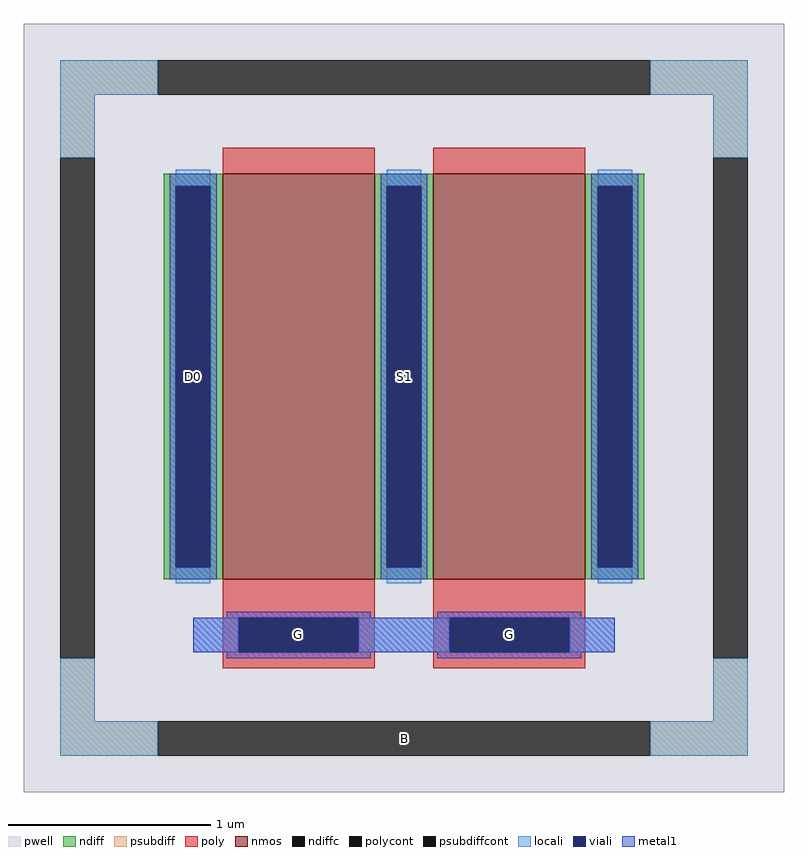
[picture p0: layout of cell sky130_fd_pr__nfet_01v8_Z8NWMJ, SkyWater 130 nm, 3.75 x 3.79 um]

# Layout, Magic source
magic
tech sky130A
magscale 1 2
<< pwell >>
rect -375 -379 375 379
<< nmos >>
rect -179 -169 -29 231
rect 29 -169 179 231
<< ndiff >>
rect -237 219 -179 231
rect -237 -157 -225 219
rect -191 -157 -179 219
rect -237 -169 -179 -157
rect -29 219 29 231
rect -29 -157 -17 219
rect 17 -157 29 219
rect -29 -169 29 -157
rect 179 219 237 231
rect 179 -157 191 219
rect 225 -157 237 219
rect 179 -169 237 -157
<< ndiffc >>
rect -225 -157 -191 219
rect -17 -157 17 219
rect 191 -157 225 219
<< psubdiff >>
rect -339 309 -243 343
rect 243 309 339 343
rect -339 247 -305 309
rect 305 247 339 309
rect -339 -309 -305 -247
rect 305 -309 339 -247
rect -339 -343 -243 -309
rect 243 -343 339 -309
<< psubdiffcont >>
rect -243 309 243 343
rect -339 -247 -305 247
rect 305 -247 339 247
rect -243 -343 243 -309
<< poly >>
rect -179 231 -29 257
rect 29 231 179 257
rect -179 -207 -29 -169
rect -179 -241 -163 -207
rect -45 -241 -29 -207
rect -179 -257 -29 -241
rect 29 -207 179 -169
rect 29 -241 45 -207
rect 163 -241 179 -207
rect 29 -257 179 -241
<< polycont >>
rect -163 -241 -45 -207
rect 45 -241 163 -207
<< locali >>
rect -339 309 -243 343
rect 243 309 339 343
rect -339 247 -305 309
rect 305 247 339 309
rect -225 219 -191 235
rect -225 -173 -191 -157
rect -17 219 17 235
rect -17 -173 17 -157
rect 191 219 225 235
rect 191 -173 225 -157
rect -208 -241 -163 -207
rect -45 -241 45 -207
rect 163 -241 208 -207
rect -339 -309 -305 -247
rect 305 -309 339 -247
rect -339 -343 -243 -309
rect 243 -343 339 -309
<< viali >>
rect -225 -157 -191 219
rect -17 -157 17 219
rect 191 -157 225 219
rect -163 -241 -45 -207
rect 45 -241 163 -207
<< metal1 >>
rect -231 219 -185 231
rect -231 -157 -225 219
rect -191 -157 -185 219
rect -231 -169 -185 -157
rect -23 219 23 231
rect -23 -157 -17 219
rect 17 -157 23 219
rect -23 -169 23 -157
rect 185 219 231 231
rect 185 -157 191 219
rect 225 -157 231 219
rect 185 -169 231 -157
rect -175 -207 -33 -201
rect 33 -207 175 -201
rect -208 -241 -163 -207
rect -45 -241 45 -207
rect 163 -241 208 -207
rect -175 -247 -33 -241
rect 33 -247 175 -241
<< labels >>
rlabel psubdiffcont 0 -326 0 -326 0 B
port 1 nsew
rlabel ndiffc -208 31 -208 31 0 D0
port 2 nsew
rlabel polycont -104 -224 -104 -224 0 G
port 3 nsew
rlabel ndiffc 0 31 0 31 0 S1
port 4 nsew
rlabel polycont 104 -224 104 -224 0 G
port 3 nsew
<< properties >>
string FIXED_BBOX -322 -326 322 326
string gencell sky130_fd_pr__nfet_01v8
string library sky130
string parameters w 2 l 0.75 m 1 nf 2 diffcov 100 polycov 100 guard 1 glc 1 grc 1 gtc 1 gbc 1 tbcov 100 rlcov 100 topc 0 botc 1 poverlap 0 doverlap 1 lmin 0.15 wmin 0.42 class mosfet compatible {sky130_fd_pr__nfet_01v8 sky130_fd_pr__nfet_01v8_lvt  sky130_fd_bs_flash__special_sonosfet_star  sky130_fd_pr__nfet_g5v0d10v5 sky130_fd_pr__nfet_05v0_nvt  sky130_fd_pr__nfet_03v3_nvt} full_metal 1 conn_gates 1 viasrc 100 viadrn 100 viagate 100 viagb 0 viagr 0 viagl 0 viagt 0 doports 1
<< end >>
